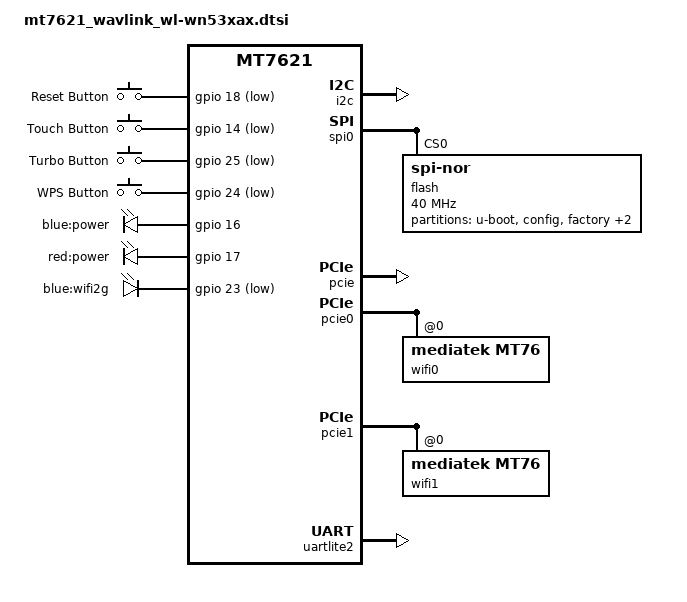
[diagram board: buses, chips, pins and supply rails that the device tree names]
// SPDX-License-Identifier: GPL-2.0-or-later OR MIT

#include "mt7621.dtsi"

#include <dt-bindings/gpio/gpio.h>
#include <dt-bindings/input/input.h>

/ {
	aliases {
		led-boot = &led_status_red;
		led-failsafe = &led_status_red;
		led-running = &led_status_blue;
		led-upgrade = &led_status_red;
	};

	keys {
		compatible = "gpio-keys";

		reset {
			label = "Reset Button";
			gpios = <&gpio 18 GPIO_ACTIVE_LOW>;
			linux,code = <KEY_RESTART>;
		};

		touch { /* RH6015C touch sensor -> GPIO 14 */
			label = "Touch Button";
			gpios = <&gpio 14 GPIO_ACTIVE_LOW>;
			linux,code = <BTN_0>;
		};

		turbo {
			label = "Turbo Button";
			gpios = <&gpio 25 GPIO_ACTIVE_LOW>;
			linux,code = <BTN_1>;
		};

		wps {
			label = "WPS Button";
			gpios = <&gpio 24 GPIO_ACTIVE_LOW>;
			linux,code = <KEY_WPS_BUTTON>;
		};
	};

	leds {
		compatible = "gpio-leds";

		led_status_blue: status_blue {
			label = "blue:power";
			gpios = <&gpio 16 GPIO_ACTIVE_HIGH>;
		};

		led_status_red: status_red {
			label = "red:power";
			gpios = <&gpio 17 GPIO_ACTIVE_HIGH>;
		};

		wifi2g {
			label = "blue:wifi2g";
			gpios = <&gpio 23 GPIO_ACTIVE_LOW>;
			linux,default-trigger = "phy0tpt";
		};
	};
};

&i2c {
	status = "okay";
};

&spi0 {
	status = "okay";

	flash@0 {
		compatible = "jedec,spi-nor";
		reg = <0>;
		spi-max-frequency = <40000000>;

		partitions {
			compatible = "fixed-partitions";
			#address-cells = <1>;
			#size-cells = <1>;

			partition@0 {
				label = "u-boot";
				reg = <0x0 0x30000>;
				read-only;
			};

			partition@30000 {
				label = "config";
				reg = <0x30000 0x10000>;
				read-only;
			};

			factory: partition@40000 {
				label = "factory";
				reg = <0x40000 0x10000>;
				read-only;
			};

			partition@50000 {
				compatible = "denx,uimage";
				label = "firmware";
				reg = <0x50000 0xeb0000>;
			};

			partition@f00000 {
				label = "vendor";
				reg = <0xf00000 0x100000>;
				read-only;
			};
		};
	};
};

&pcie {
	status = "okay";
};

&pcie0 {
	wifi0: mt76@0,0 {
		compatible = "mediatek,mt76";
		reg = <0x0000 0 0 0 0>;
		mediatek,mtd-eeprom = <&factory 0x0>;
	};
};

&pcie1 {
	wifi1: mt76@0,0 {
		compatible = "mediatek,mt76";
		reg = <0x0000 0 0 0 0>;
		mediatek,mtd-eeprom = <&factory 0x8000>;
	};
};

&ethernet {
	pinctrl-0 = <&mdio_pins>, <&rgmii1_pins>;
};

&gmac0 {
	nvmem-cells = <&macaddr_factory_e000>;
	nvmem-cell-names = "mac-address";
};

&switch0 {
	ports {
		port0: port@0 {
			status = "okay";
		};

		port1: port@1 {
			status = "okay";
		};

		port2: port@2 {
			status = "okay";
		};

		port3: port@3 {
			status = "okay";
		};

		port@4 {
			status = "okay";
			label = "wan";
			nvmem-cells = <&macaddr_factory_e006>;
			nvmem-cell-names = "mac-address";
		};
	};
};

&state_default {
	gpio {
		groups = "rgmii2", "jtag", "wdt";
		function = "gpio";
	};
};

&uartlite2 {
	status = "okay";
};

&factory {
	compatible = "nvmem-cells";
	#address-cells = <1>;
	#size-cells = <1>;

	macaddr_factory_e000: macaddr@e000 {
		reg = <0xe000 0x6>;
	};

	macaddr_factory_e006: macaddr@e006 {
		reg = <0xe006 0x6>;
	};
};
